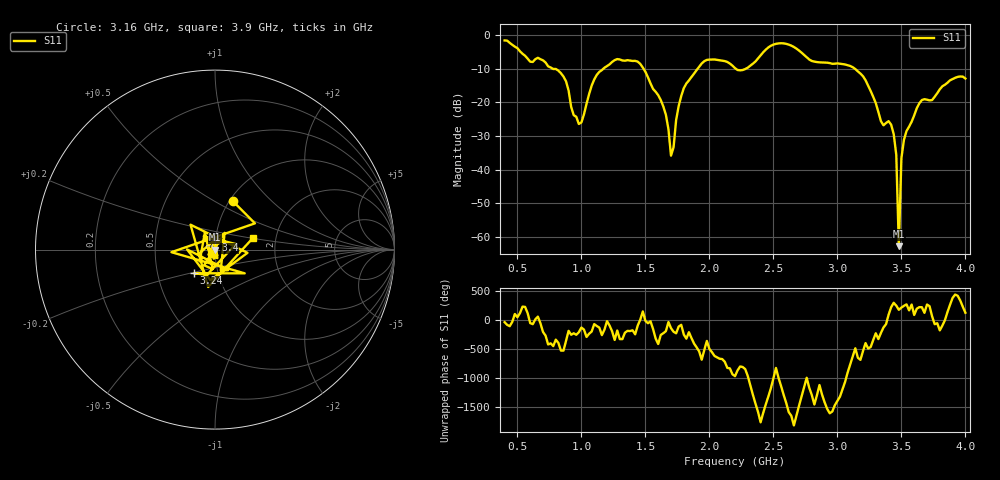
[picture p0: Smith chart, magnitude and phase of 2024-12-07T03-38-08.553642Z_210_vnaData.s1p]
!Created with skrf (http://scikit-rf.org).
# Hz S RI R 50.0
!freq ReS11 ImS11
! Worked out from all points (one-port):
!   181 points, 400 MHz to 4 GHz, reference 50 ohm
!   lowest |S11| = -62.7 dB at 3.48 GHz (marker M1), VSWR 1.00, Z = 49.9 + j0.00965 ohm
!   |S11| at or under -10 dB: 774.1 MHz to 1.173 GHz (398.8 MHz wide, 41 % of centre); 1.485 GHz to 1.91 GHz (425 MHz wide, 25 % of centre); 3.135 GHz to end of sweep (the widest 3 of 4)
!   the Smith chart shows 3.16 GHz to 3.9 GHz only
!   S11 on the Smith chart (normalised r, x): 3.16 GHz: 1.04, +0.61; 3.24 GHz: 0.76, -0.21; 3.4 GHz: 1.00, +0.10; 3.9 GHz: 1.52, +0.21
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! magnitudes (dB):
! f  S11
! 400 MHz  -1.7
! 860 MHz  -12.4
! 980 MHz  -26.5
! 1.12 GHz  -11.9
! 1.3 GHz  -7.3
! 1.46 GHz  -8.6
! 1.6 GHz  -17.9
! 1.66 GHz  -23.7
! 1.7 GHz  -35.8
! 1.76 GHz  -21.1
! 1.82 GHz  -14.4
! 1.96 GHz  -7.8
! 2.2 GHz  -9.9
! 2.5 GHz  -2.9
! 2.66 GHz  -3.6
! 3.1 GHz  -9.2
! 3.16 GHz  -10.8
! 3.24 GHz  -15.1
! 3.34 GHz  -25.6
! 3.4 GHz  -25.6
! 3.44 GHz  -29.5
! 3.46 GHz  -35.6
! 3.48 GHz  -62.7
! 3.5 GHz  -36.6
! 3.56 GHz  -27.3
! 3.66 GHz  -19.3
! 3.9 GHz  -13.1
! 4 GHz  -13.0
